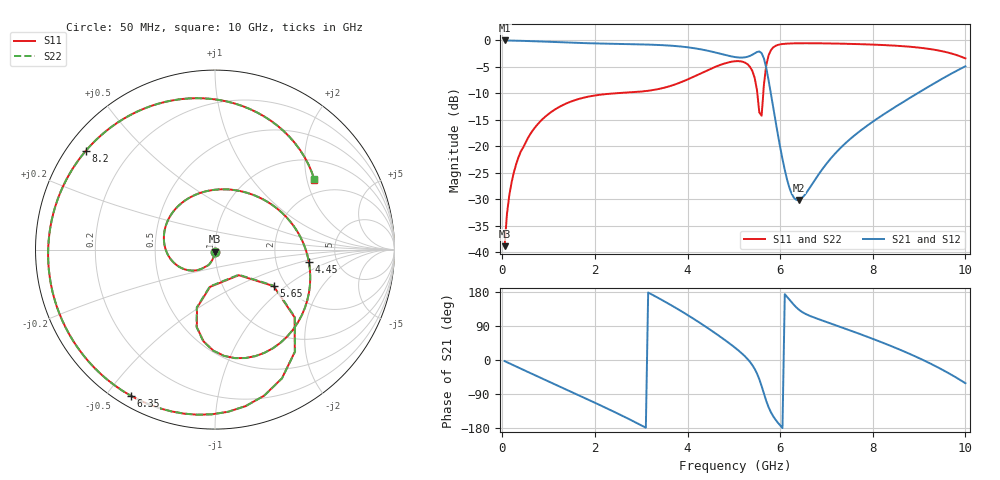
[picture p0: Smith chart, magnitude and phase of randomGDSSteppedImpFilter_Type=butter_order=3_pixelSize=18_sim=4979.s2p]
! freq	dB(S11)	phase(S11)	dB(S12)	phase(S12)
!  dB(S21)	phase(S21)	dB(S22)	phase(S22)
!S-par simulation data
#  GHz  S  DB  R 50
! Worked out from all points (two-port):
!   200 points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, 50 MHz to 10 GHz, reference 50 ohm
!   highest |S21| = 0.00 dB at 50 MHz (marker M1); lowest = -30.1 dB at 6.4 GHz (marker M2)
!   |S21| within 3 dB of the highest: start of sweep to 4.942 GHz; 5.32 GHz to 5.63 GHz (310 MHz wide, 5.66 % of centre)
!   lowest |S11| = -38.8 dB at 50 MHz (marker M3), VSWR 1.02, Z = 49.9 - j1.14 ohm
!   |S11| at or under -10 dB: start of sweep to 2.398 GHz; 5.507 GHz to 5.636 GHz (128.4 MHz wide, 2.3 % of centre)
!   |S22| runs from -38.8 to -0.5 dB; largest |S21 - S12| = 0
!   S11 on the Smith chart (normalised r, x): 50 MHz: 1.00, -0.02; 4.45 GHz: 3.11, -0.60; 5.65 GHz: 1.72, -0.82; 6.35 GHz: 0.04, -0.58; 8.2 GHz: 0.05, +0.34; 10 GHz: 1.54, +2.22
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0.05  -38.81 -92.5  -0.00 -2.9  -0.00 -2.9  -38.81 -92.5
0.2  -26.80 -101.2  -0.03 -11.5  -0.03 -11.5  -26.80 -101.2
0.55  -18.47 -122.0  -0.11 -31.4  -0.11 -31.4  -18.47 -122.0
1.75  -10.81 170.6  -0.50 -98.7  -0.50 -98.7  -10.81 170.6
2.7  -9.83 115.6  -0.69 -153.7  -0.69 -153.7  -9.83 115.5
3.4  -9.12 70.8  -0.87 161.6  -0.87 161.6  -9.12 70.8
4  -7.37 27.9  -1.29 118.8  -1.29 118.8  -7.37 27.9
4.45  -5.55 -7.6  -1.97 83.2  -1.97 83.2  -5.55 -7.6
5.05  -3.91 -59.6  -3.17 30.2  -3.17 30.2  -3.91 -59.7
5.45  -7.07 -103.2  -2.43 -23.6  -2.43 -23.6  -7.08 -103.5
5.6  -14.21 -47.1  -2.40 -69.0  -2.40 -69.0  -14.32 -46.7
5.65  -8.30 -31.9  -3.41 -89.0  -3.41 -89.0  -8.33 -31.5
5.75  -2.82 -52.0  -7.49 -124.5  -7.49 -124.5  -2.83 -51.9
5.9  -1.03 -79.0  -15.24 -157.5  -15.24 -157.5  -1.03 -78.9
6.35  -0.54 -120.0  -30.09 138.8  -30.09 138.8  -0.54 -119.9
6.4  -0.53 -123.3  -30.11 133.3  -30.11 133.3  -0.53 -123.3
6.7  -0.53 -141.5  -26.99 113.6  -26.99 113.6  -0.53 -141.5
7.4  -0.63 -178.0  -19.47 83.0  -19.47 83.0  -0.63 -178.0
8.2  -0.86 142.6  -14.15 46.4  -14.15 46.4  -0.86 142.7
8.35  -0.92 135.0  -13.30 39.1  -13.30 39.1  -0.92 135.1
9.2  -1.57 88.5  -8.75 -6.7  -8.75 -6.7  -1.57 88.5
10  -3.39 35.2  -4.88 -61.3  -4.88 -61.3  -3.39 35.2
